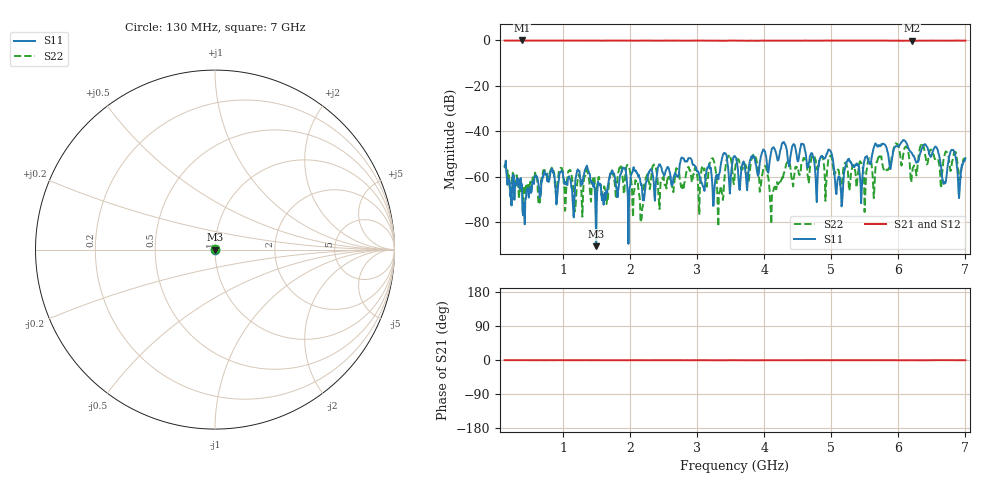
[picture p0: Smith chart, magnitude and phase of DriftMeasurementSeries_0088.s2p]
# Hz S RI R 50.000000
! Metas.Vna.Tools, 2.8.8664.20301
! Metas.Vna.Data, 2.8.8664.20285
! Created: UTC 2024.02.11 10:08:48
! FREQ  re:S1,1  im:S1,1  re:S2,1  im:S2,1  re:S1,2  im:S1,2  re:S2,2  im:S2,2
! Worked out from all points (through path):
!   801 points, 130 MHz to 7 GHz, reference 50 ohm
!   highest |S21| = -0.02 dB at 387.6 MHz (marker M1); lowest = -0.2 dB at 6.201 GHz (marker M2)
!   lowest |S11| = -90.4 dB at 1.495 GHz (marker M3), VSWR 1.00, Z = 50 - j0.00275 ohm
!   |S11| at or under -10 dB: start of sweep to end of sweep
!   |S22| runs from -81.9 to -45.0 dB; largest |S21 - S12| = 0.018
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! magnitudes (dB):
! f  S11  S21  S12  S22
! 130 MHz  -55.3  -0.1  0.0  -56.0
! 387.6 MHz  -63.2  0.0  0.0  -64.5
! 1.281 GHz  -61.7  0.0  0.0  -70.6
! 1.495 GHz  -90.4  -0.1  0.0  -72.1
! 2.423 GHz  -55.4  -0.1  0.0  -67.7
! 3.256 GHz  -66.6  -0.1  0.0  -53.8
! 3.342 GHz  -57.4  -0.1  0.0  -66.4
! 3.462 GHz  -55.7  -0.1  0.0  -50.9
! 3.565 GHz  -51.0  -0.1  0.0  -56.7
! 3.857 GHz  -51.4  -0.2  0.0  -50.1
! 4.115 GHz  -47.7  -0.1  0.0  -69.0
! 4.716 GHz  -49.7  -0.1  0.0  -50.9
! 4.982 GHz  -48.3  -0.1  0.0  -50.8
! 5.145 GHz  -66.2  -0.1  0.0  -66.5
! 5.257 GHz  -52.6  -0.1  0.0  -61.1
! 5.858 GHz  -52.1  -0.1  0.0  -56.3
! 5.97 GHz  -46.5  -0.1  0.0  -45.3
! 6.201 GHz  -49.5  -0.2  0.0  -59.2
! 6.562 GHz  -46.9  -0.1  0.0  -53.0
! 6.682 GHz  -62.2  -0.1  0.0  -51.4
! 6.794 GHz  -48.1  -0.1  0.0  -55.4
! 7 GHz  -51.8  -0.1  0.0  -51.9
